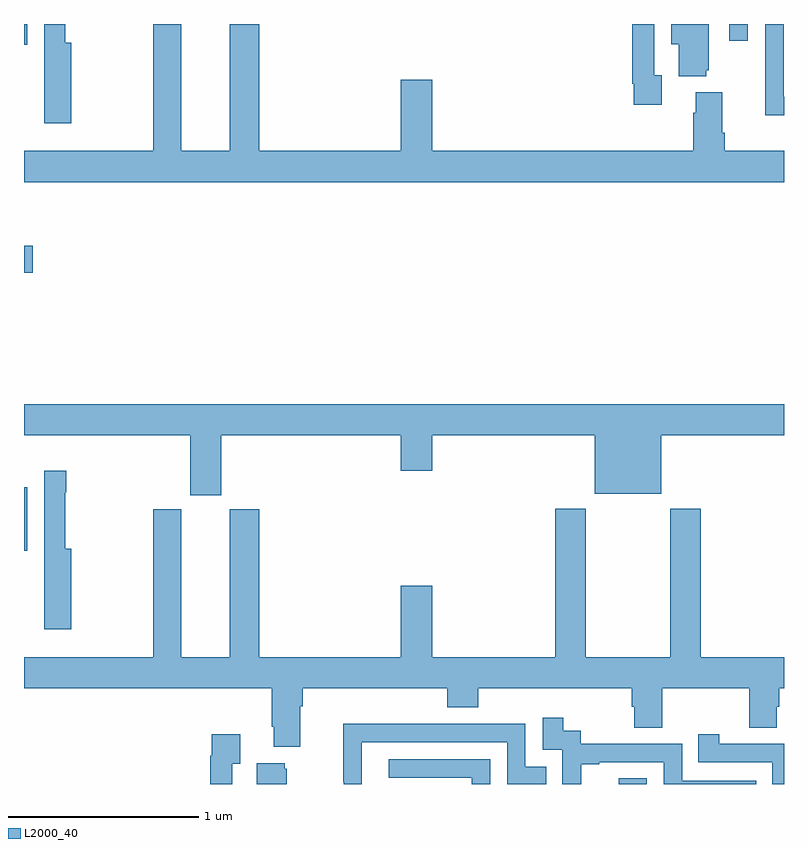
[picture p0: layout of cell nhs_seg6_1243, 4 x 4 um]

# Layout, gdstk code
import gdstk
lib = gdstk.Library(unit=1e-6, precision=1e-09)
def R(c, l, rs):  # rectangles x0, y0, x1, y1
    for r in rs: c.add(gdstk.rectangle(r[:2], r[2:], *l))
def P(c, l, *ps):  # polygons
    for p in ps: c.add(gdstk.Polygon(p, *l))
L2000_40 = (2000, 40)

nhs_seg6_1243 = lib.new_cell('nhs_seg6_1243')
R(nhs_seg6_1243, L2000_40, [(190.131,945.5,190.278,945.529), (187,946.728,187.017,947.062), (187,948.191,187.045,948.333), (187,949.392,187.017,949.5), (190.713,949.413,190.809,949.5)])
P(nhs_seg6_1243, L2000_40, [(187.248,949.402),(187.216,949.402),(187.216,949.5),(187.107,949.5),(187.107,949.298),(187.106,949.298),(187.106,948.978),(187.248,948.978)],
  [(191,948.832),(190.688,948.832),(190.688,948.928),(190.675,948.928),(190.675,949.141),(190.535,949.141),(190.535,949.034),(190.523,949.034),(190.523,948.832),(189.148,948.832),(189.148,949.207),(188.984,949.207),(188.984,948.832),(188.237,948.832),(188.237,949.5),(188.084,949.5),(188.084,948.832),(187.828,948.832),(187.828,949.5),(187.681,949.5),(187.681,948.832),(187,948.832),(187,948.668),(191,948.668)],
  [(190.592,949.257),(190.603,949.257),(190.603,949.5),(190.406,949.5),(190.406,949.394),(190.445,949.394),(190.445,949.226),(190.592,949.226)],
  [(190.357,949.23),(190.317,949.23),(190.317,949.5),(190.201,949.5),(190.201,949.186),(190.209,949.186),(190.209,949.074),(190.357,949.074)],
  [(191,949.116),(190.998,949.116),(190.998,949.5),(190.902,949.5),(190.902,949.325),(190.9,949.325),(190.9,949.019),(191,949.019)],
  [(187,947.336),(187.874,947.336),(187.874,947.019),(188.038,947.019),(188.038,947.336),(188.984,947.336),(188.984,947.148),(189.148,947.148),(189.148,947.336),(190.004,947.336),(190.004,947.027),(190.354,947.027),(190.354,947.336),(191,947.336),(191,947.5),(187,947.5)],
  [(187.248,946.738),(187.216,946.738),(187.216,947.036),(187.223,947.036),(187.223,947.149),(187.107,947.149),(187.107,946.634),(187.106,946.634),(187.106,946.314),(187.248,946.314)],
  [(189.957,946.948),(189.797,946.948),(189.797,946.168),(189.148,946.168),(189.148,946.543),(188.984,946.543),(188.984,946.168),(188.237,946.168),(188.237,946.947),(188.084,946.947),(188.084,946.168),(187.828,946.168),(187.828,946.947),(187.681,946.947),(187.681,946.168),(187,946.168),(187,946.004),(188.303,946.004),(188.303,945.802),(188.315,945.802),(188.315,945.695),(188.455,945.695),(188.455,945.908),(188.468,945.908),(188.468,946.004),(189.227,946.004),(189.227,945.905),(189.392,945.905),(189.392,946.004),(190.199,946.004),(190.199,945.906),(190.211,945.906),(190.211,945.796),(190.359,945.796),(190.359,946.004),(190.816,946.004),(190.816,945.796),(190.963,945.796),(190.963,945.906),(190.976,945.906),(190.976,946.004),(191,946.004),(191,946.168),(190.562,946.168),(190.562,946.948),(190.402,946.948),(190.402,946.168),(189.957,946.168)],
  [(189.932,945.603),(190.027,945.603),(190.027,945.615),(190.368,945.615),(190.368,945.5),(190.853,945.5),(190.853,945.516),(190.464,945.516),(190.464,945.711),(189.93,945.711),(189.93,945.78),(189.838,945.78),(189.838,945.85),(189.729,945.85),(189.729,945.681),(189.834,945.681),(189.834,945.5),(189.932,945.5)],
  [(188.778,945.72),(189.543,945.72),(189.543,945.5),(189.749,945.5),(189.749,945.591),(189.639,945.591),(189.639,945.816),(189.143,945.816),(189.143,945.818),(188.68,945.818),(188.68,945.511),(188.682,945.511),(188.682,945.5),(188.778,945.5)],
  [(191,945.711),(190.66,945.711),(190.66,945.763),(190.549,945.763),(190.549,945.615),(190.938,945.615),(190.938,945.5),(191,945.5)],
  [(188.097,945.607),(188.137,945.607),(188.137,945.763),(187.989,945.763),(187.989,945.65),(187.981,945.65),(187.981,945.5),(188.097,945.5)],
  [(189.453,945.63),(188.919,945.63),(188.919,945.534),(189.357,945.534),(189.357,945.5),(189.453,945.5)],
  [(188.383,945.579),(188.372,945.579),(188.372,945.61),(188.225,945.61),(188.225,945.5),(188.383,945.5)])

lib.write_gds('nhs_seg6_1243.gds')
